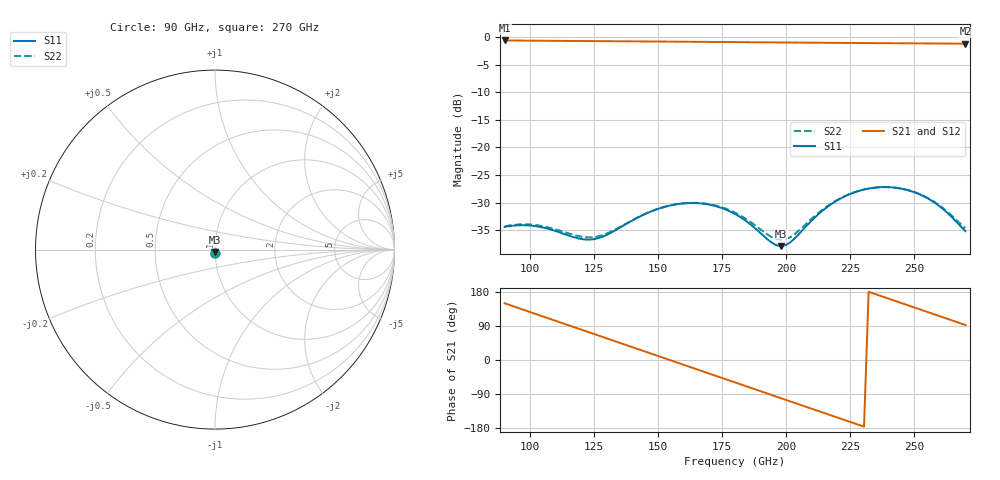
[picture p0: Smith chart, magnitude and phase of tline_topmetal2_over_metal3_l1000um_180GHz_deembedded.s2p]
! Created with skrf 2.2.0 (http://scikit-rf.org).
# GHz S DB R 50.0
! Port[1] = P1
! Port[2] = P2
!freq dBS11 angS11 dBS21 angS21 dBS12 angS12 dBS22 angS22
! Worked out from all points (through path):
!   101 points, 90 GHz to 270 GHz, reference 50 ohm
!   highest |S21| = -0.64 dB at 90 GHz (marker M1); lowest = -1.2 dB at 270 GHz (marker M2)
!   group delay of S21, straight-line fit = 6.44 ps
!   lowest |S11| = -37.9 dB at 198 GHz (marker M3), VSWR 1.03, Z = 49.9 - j1.27 ohm
!   |S11| at or under -10 dB: start of sweep to end of sweep
!   |S22| runs from -36.7 to -27.2 dB; largest |S21 - S12| = 1.6e-13
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90  -34.38 -88.0  -0.64 149.7  -0.64 149.7  -34.28 -87.1
99  -34.09 -95.5  -0.67 128.8  -0.67 128.8  -33.91 -94.5
106.2  -34.62 -100.5  -0.70 112.0  -0.70 112.0  -34.36 -99.6
113.4  -35.68 -101.1  -0.72 95.3  -0.72 95.3  -35.31 -100.5
120.6  -36.61 -93.9  -0.75 78.6  -0.75 78.6  -36.20 -94.4
127.8  -36.22 -81.8  -0.77 61.9  -0.77 61.9  -35.93 -83.3
136.8  -34.02 -74.4  -0.80 41.1  -0.80 41.1  -33.94 -75.6
144  -32.22 -76.8  -0.82 24.4  -0.82 24.4  -32.21 -77.3
151.2  -30.91 -83.6  -0.84 7.6  -0.84 7.6  -30.92 -83.4
158.4  -30.19 -92.6  -0.87 -9.1  -0.87 -9.1  -30.18 -91.8
165.6  -30.09 -102.4  -0.89 -25.8  -0.89 -25.8  -30.04 -101.1
180  -32.03 -119.5  -0.94 -59.2  -0.94 -59.2  -31.79 -116.8
189  -35.08 -120.2  -0.97 -80.0  -0.97 -80.0  -34.48 -116.8
198  -37.86 -93.9  -1.01 -100.9  -1.01 -100.9  -36.73 -94.4
201.6  -37.16 -78.4  -1.02 -109.2  -1.02 -109.2  -36.22 -81.5
210.6  -32.93 -63.2  -1.05 -130.1  -1.05 -130.1  -32.63 -66.8
219.6  -29.66 -69.1  -1.08 -150.9  -1.08 -150.9  -29.58 -71.3
226.8  -28.10 -78.7  -1.10 -167.6  -1.10 -167.6  -28.07 -80.1
234  -27.31 -90.0  -1.12 175.8  -1.12 175.8  -27.30 -90.6
241.2  -27.22 -101.5  -1.14 159.1  -1.14 159.1  -27.21 -101.6
257.4  -29.80 -123.1  -1.19 121.6  -1.19 121.6  -29.71 -121.7
270  -35.14 -114.9  -1.23 92.4  -1.23 92.4  -34.61 -112.7
